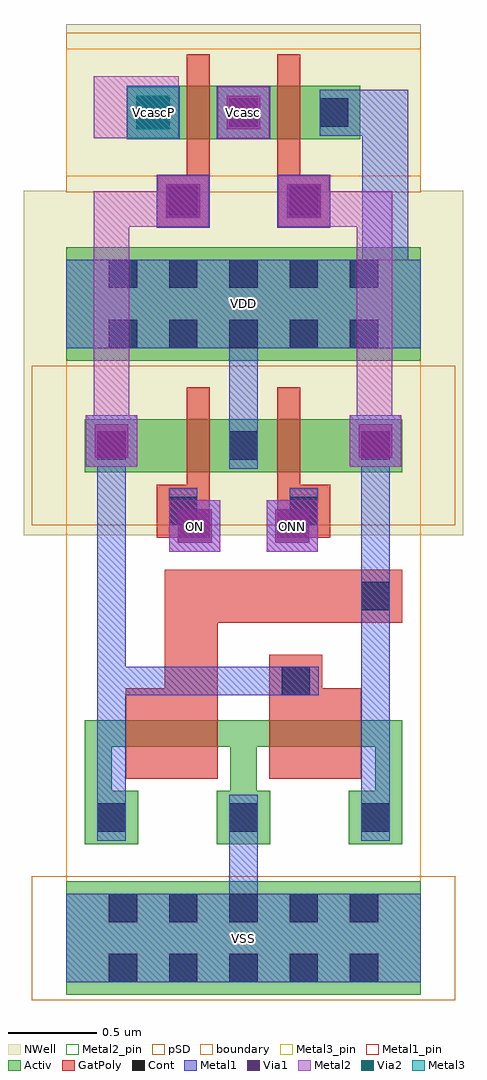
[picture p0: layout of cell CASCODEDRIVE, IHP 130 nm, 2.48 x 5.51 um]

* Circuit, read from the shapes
.subckt CASCODEDRIVE ON ONN VDD VSS Vcasc VcascP
XM1 VSS NONOVERLAP_1/OUTP NONOVERLAP_1/OUTN VSS sg13_lv_nmos w=0.15u l=0.52u
XM2 NONOVERLAP_1/OUTP NONOVERLAP_1/OUTN VSS VSS sg13_lv_nmos w=0.15u l=0.52u
XM3 VDD ON NONOVERLAP_1/OUTN VDD sg13_lv_pmos w=0.3u l=0.13u
XM4 Vcasc NONOVERLAP_1/OUTN VcascP VDD sg13_lv_pmos w=0.3u l=0.13u
XM5 NONOVERLAP_1/OUTP ONN VDD VDD sg13_lv_pmos w=0.3u l=0.13u
XM6 VDD NONOVERLAP_1/OUTP Vcasc VDD sg13_lv_pmos w=0.3u l=0.13u
.ends

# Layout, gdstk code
from math import pi, radians
import gdstk
lib = gdstk.Library(unit=1e-6, precision=1e-09)
def R(c, l, rs):  # rectangles x0, y0, x1, y1
    for r in rs: c.add(gdstk.rectangle(r[:2], r[2:], *l))
def A(c, l, x, y, w, h, nx, ny, dx, dy):  # array of equal rectangles
    R(c, l, [(x+i*dx, y+j*dy, x+i*dx+w, y+j*dy+h) for i in range(nx) for j in range(ny)])
Activ = (1, 0)
GatPoly = (5, 0)
Cont = (6, 0)
Metal1 = (8, 0)
Metal1_pin = (8, 2)
Metal2 = (10, 0)
Metal2_pin = (10, 2)
pSD = (14, 0)
Via1 = (19, 0)
Via2 = (29, 0)
Metal3 = (30, 0)
Metal3_pin = (30, 2)
NWell = (31, 0)
boundary = (189, 4)

feol_contacts = lib.new_cell('FEOL$contacts')
R(feol_contacts, Cont, [(0.05,0,0.21,0.16)])
R(feol_contacts, Metal1, [(0,0,0.26,0.16)])

via_stack_2 = lib.new_cell('via_stack$2')
R(via_stack_2, Metal1, [(-0.145,-0.145,0.145,0.145)])
R(via_stack_2, Metal2, [(-0.145,-0.145,0.145,0.145)])
R(via_stack_2, Via1, [(-0.095,-0.095,0.095,0.095)])

via_stack = lib.new_cell('via_stack')
R(via_stack, Metal1, [(-0.145,-0.145,0.145,0.145)])
R(via_stack, Metal2, [(-0.145,-0.145,0.145,0.145)])
R(via_stack, Via1, [(-0.095,-0.095,0.095,0.095)])
R(via_stack, Via2, [(-0.095,-0.095,0.095,0.095)])
R(via_stack, Metal3, [(-0.145,-0.145,0.145,0.145)])

dac_sw = lib.new_cell('DAC_SW')
R(dac_sw, Activ, [(-0.66,-0.15,0.66,0.15)])
R(dac_sw, GatPoly, [(-0.49,-0.65,-0.19,-0.35), (0.19,-0.65,0.49,-0.35), (-0.32,-0.375,-0.19,0.33), (0.19,-0.375,0.32,0.33)])
A(dac_sw, Cont, -0.59, -0.08, 0.16, 0.16, 3, 1, 0.51, 0)
A(dac_sw, Metal1, -0.59, -0.13, 0.16, 0.26, 3, 1, 0.51, 0)
R(dac_sw, Metal1, [(-0.49,-0.65,-0.19,-0.35), (0.19,-0.65,0.49,-0.35), (-0.66,-0.15,-0.36,0.15), (-0.15,-0.15,0.15,0.15)])
R(dac_sw, Metal2, [(-0.845,-0.145,-0.365,0.205)])
R(dac_sw, pSD, [(-1,-0.45,1,0.45)])
R(dac_sw, NWell, [(-1,-0.5,1,0.5)])
R(dac_sw, boundary, [(-1,-0.36,1,0.36)])
dac_sw.add(gdstk.FlexPath([(0.43,0),(0.8,0),(0.8,-0.985)], 0.26, ends="flush", simple_path=True, layer=8, datatype=0))  # Metal1
dac_sw.add(gdstk.FlexPath([(-0.745,-1.95),(-0.745,-0.545),(-0.24,-0.545)], 0.2, ends="flush", simple_path=True, layer=10, datatype=0))  # Metal2
dac_sw.add(gdstk.FlexPath([(0.74,-1.95),(0.74,-0.545),(0.24,-0.545)], 0.2, ends="flush", simple_path=True, layer=10, datatype=0))  # Metal2
dac_sw.add(gdstk.Reference(feol_contacts, (-0.26,-0.63), rotation=pi/2))
dac_sw.add(gdstk.Reference(feol_contacts, (0.42,-0.63), rotation=pi/2))
dac_sw.add(gdstk.Reference(via_stack_2, (-0.34,-0.5)))
dac_sw.add(gdstk.Reference(via_stack, (-0.51,0)))
dac_sw.add(gdstk.Reference(via_stack_2, (0.34,-0.5)))
dac_sw.add(gdstk.Reference(via_stack_2, (0,0)))

feol_contacts_3 = lib.new_cell('FEOL$contacts$3')
A(feol_contacts_3, Cont, 0.2, 0, 0.16, 0.16, 5, 2, 0.34, 0.34)
R(feol_contacts_3, Metal1, [(0,0,1.92,0.5)])

feol_contacts_1 = lib.new_cell('FEOL$contacts$1')
R(feol_contacts_1, Cont, [(0.05,0,0.21,0.16)])
R(feol_contacts_1, Metal1, [(0,0,0.26,0.16)])

via_stack_1_1 = lib.new_cell('via_stack$1$1')
R(via_stack_1_1, Metal1, [(-0.145,-0.145,0.145,0.145)])
R(via_stack_1_1, Metal2, [(-0.145,-0.145,0.145,0.145)])
R(via_stack_1_1, Via1, [(-0.095,-0.095,0.095,0.095)])

nonoverlap = lib.new_cell('NONOVERLAP')
A(nonoverlap, Activ, -0.895, -2.25, 0.3, 0.3, 3, 1, 0.745, 0)
R(nonoverlap, Activ, [(-1,-3.1,1,-2.46), (-0.895,-1.7,0.895,-1.55), (-0.895,-0.15,0.895,0.15), (-1,0.48,1,1.12)])
R(nonoverlap, GatPoly, [(-0.665,-1.88,-0.145,-1.37), (0.145,-1.88,0.665,-1.37), (0.145,-1.48,0.445,-1.18), (0.595,-1,0.895,-0.7), (-0.49,-0.52,-0.19,-0.22), (0.19,-0.52,0.49,-0.22), (-0.32,-0.33,-0.19,0.33), (0.19,-0.33,0.32,0.33)])
R(nonoverlap, Metal1, [(-1,-3.03,1,-2.53), (-1,0.55,1,1.05), (-1,0.55,1,1.05)])
R(nonoverlap, Metal1_pin, [(-1,-3.03,1,-2.53), (-1,0.55,1,1.05)])
R(nonoverlap, Metal2_pin, [(-0.42,-0.6,-0.13,-0.31), (0.13,-0.6,0.42,-0.31), (-0.89,-0.12,-0.6,0.17), (0.6,-0.12,0.89,0.17)])
R(nonoverlap, pSD, [(-1.195,-3.13,1.195,-2.43), (-1.195,-0.45,1.195,0.45)])
R(nonoverlap, NWell, [(-1.24,-0.505,1.24,1.44)])
R(nonoverlap, boundary, [(-1,-3.1,1,1.12)])
nonoverlap.add(gdstk.FlexPath([(0.38,-1.33),(-0.745,-1.33)], 0.16, ends="flush", simple_path=True, layer=8, datatype=0))  # Metal1
nonoverlap.add(gdstk.FlexPath([(-0.745,-2.02),(-0.745,-0.08)], 0.16, ends="flush", simple_path=True, layer=8, datatype=0))  # Metal1
nonoverlap.add(gdstk.FlexPath([(0.745,-2.02),(0.745,-0.08)], 0.16, ends="flush", simple_path=True, layer=8, datatype=0))  # Metal1
nonoverlap.add(gdstk.FlexPath([(0,-2.02),(0,-2.69)], 0.16, ends="flush", simple_path=True, layer=8, datatype=0))  # Metal1
nonoverlap.add(gdstk.FlexPath([(0,0.71),(0,-0.08)], 0.16, ends="flush", simple_path=True, layer=8, datatype=0))  # Metal1
nonoverlap.add(gdstk.FlexPath([(0,-1.63),(0,-2.18)], 0.15, ends="flush", simple_path=True, layer=1, datatype=0))  # Activ
nonoverlap.add(gdstk.FlexPath([(0.82,-1.635),(0.82,-2.18)], 0.15, ends="flush", simple_path=True, layer=1, datatype=0))  # Activ
nonoverlap.add(gdstk.FlexPath([(-0.82,-1.63),(-0.82,-2.18)], 0.15, ends="flush", simple_path=True, layer=1, datatype=0))  # Activ
nonoverlap.add(gdstk.FlexPath([(-0.295,-1.475),(-0.295,-0.85),(0.745,-0.85)], 0.3, ends="flush", simple_path=True, layer=5, datatype=0))  # GatPoly
nonoverlap.add(gdstk.Reference(feol_contacts_3, (-0.96,0.55)))
nonoverlap.add(gdstk.Reference(feol_contacts_1, (0.825,-0.13), rotation=pi/2))
nonoverlap.add(gdstk.Reference(feol_contacts_1, (0.08,-0.13), rotation=pi/2))
nonoverlap.add(gdstk.Reference(feol_contacts_1, (-0.665,-0.13), rotation=pi/2))
nonoverlap.add(gdstk.Reference(feol_contacts_1, (-0.26,-0.5), rotation=pi/2))
nonoverlap.add(gdstk.Reference(feol_contacts_1, (0.42,-0.5), rotation=pi/2))
nonoverlap.add(gdstk.Reference(feol_contacts_1, (-0.665,-2.23), rotation=pi/2))
nonoverlap.add(gdstk.Reference(feol_contacts_1, (0.165,-1.41)))
nonoverlap.add(gdstk.Reference(feol_contacts_1, (0.825,-2.23), rotation=pi/2))
nonoverlap.add(gdstk.Reference(feol_contacts_1, (0.08,-2.23), rotation=pi/2))
nonoverlap.add(gdstk.Reference(feol_contacts_3, (-0.96,-3.03)))
nonoverlap.add(gdstk.Reference(via_stack_1_1, (0.275,-0.455)))
nonoverlap.add(gdstk.Reference(via_stack_1_1, (-0.275,-0.455)))
nonoverlap.add(gdstk.Reference(via_stack_1_1, (0.745,0.025)))
nonoverlap.add(gdstk.Reference(via_stack_1_1, (-0.745,0.025)))
nonoverlap.add(gdstk.Reference(feol_contacts_1, (0.825,-0.98), rotation=pi/2))
nonoverlap.add(gdstk.Label('VSS', (0,-2.78), layer=8, texttype=2))
nonoverlap.add(gdstk.Label('VDD', (0,0.8), layer=8, texttype=2))
nonoverlap.add(gdstk.Label('OUTN', (-0.745,0.025), layer=10, texttype=2))
nonoverlap.add(gdstk.Label('INP', (-0.275,-0.455), layer=10, texttype=2))
nonoverlap.add(gdstk.Label('OUTP', (0.745,0.025), layer=10, texttype=2))
nonoverlap.add(gdstk.Label('INN', (0.275,-0.455), layer=10, texttype=2))

cascodedrive = lib.new_cell('CASCODEDRIVE')
R(cascodedrive, Metal1_pin, [(-1,-4.91,1,-4.41), (-1,-1.33,1,-0.83)])
R(cascodedrive, Metal2_pin, [(-0.42,-2.48,-0.13,-2.19), (0.13,-2.48,0.42,-2.19), (-0.145,-0.145,0.145,0.145)])
R(cascodedrive, Metal3_pin, [(-0.655,-0.145,-0.365,0.145)])
cascodedrive.add(gdstk.Reference(dac_sw, (0,0)))
cascodedrive.add(gdstk.Reference(nonoverlap, (0,-1.88)))
cascodedrive.add(gdstk.Label('VSS', (0,-4.66), layer=8, texttype=2))
cascodedrive.add(gdstk.Label('VDD', (0,-1.08), layer=8, texttype=2))
cascodedrive.add(gdstk.Label('ON', (-0.275,-2.335), layer=10, texttype=2))
cascodedrive.add(gdstk.Label('ONN', (0.275,-2.335), layer=10, texttype=2))
cascodedrive.add(gdstk.Label('Vcasc', (0,0), layer=10, texttype=2))
cascodedrive.add(gdstk.Label('VcascP', (-0.51,0), layer=30, texttype=2))

lib.write_gds('CASCODEDRIVE.gds')
